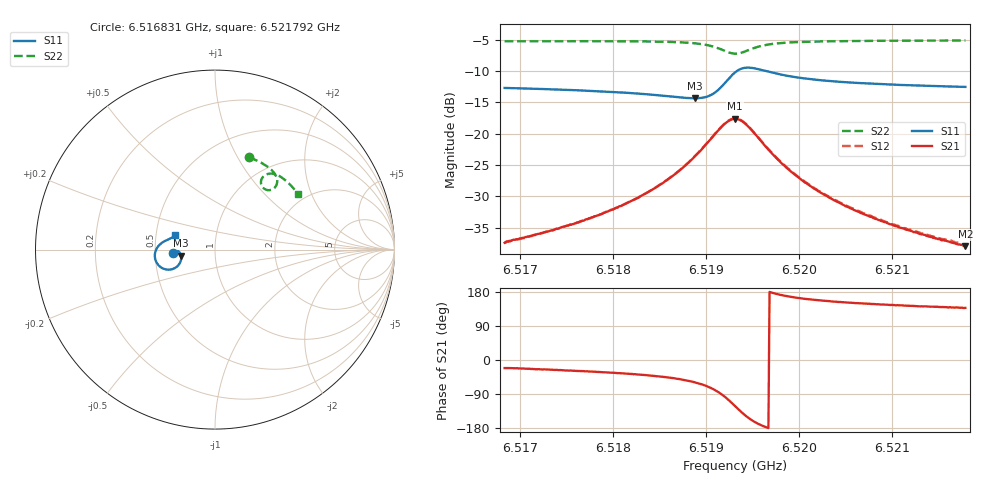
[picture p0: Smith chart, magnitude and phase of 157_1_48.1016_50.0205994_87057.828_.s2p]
#  HZ  S  RI  R  50.00
! Rohde & Schwarz Vector Network Analyzer
! Rohde-Schwarz,ZNB20-2Port,1311601062101988,3.16
! Created: UTC 12/23/2023, 3:50:22 AM
! freq[Hz]  re:S11  im:S11  re:S21  im:S21  re:S12  im:S12  re:S22  im:S22
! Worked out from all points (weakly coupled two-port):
!   401 points, 6.516831 GHz to 6.521792 GHz, reference 50 ohm
!   highest |S21| = -17.61 dB at 6.519311 GHz (marker M1); lowest = -37.9 dB at 6.521792 GHz (marker M2)
!   lowest |S11| = -14.3 dB at 6.518877 GHz (marker M3), VSWR 1.48, Z = 34 - j2.45 ohm
!   |S11| at or under -10 dB: start of sweep to 6.51933 GHz; 6.519648 GHz to end of sweep
!   |S22| runs from -7.2 to -5.1 dB; largest |S21 - S12| = 0.0041
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6.5168309e9  -0.2315 -0.0203  0.0126 -0.00489  0.0128 -0.00445  0.1913 0.5135
6.517327e9  -0.2262 -0.0128  0.0152 -0.00734  0.0154 -0.00686  0.2282 0.4987
6.5176619e9  -0.2215 -0.00875  0.0177 -0.00979  0.0178 -0.00929  0.2529 0.4867
6.5181084e9  -0.2132 -0.0061  0.0221 -0.0157  0.0226 -0.0151  0.2864 0.4665
6.5184929e9  -0.2027 -0.00996  0.0281 -0.0266  0.029 -0.0258  0.316 0.4428
6.5186913e9  -0.1954 -0.0179  0.032 -0.0377  0.0334 -0.0367  0.3314 0.4251
6.5188774e9  -0.1889 -0.0346  0.034 -0.0562  0.036 -0.0554  0.3436 0.4009
6.518989e9  -0.1886 -0.053  0.0312 -0.0742  0.0336 -0.0739  0.3466 0.3803
6.5190758e9  -0.1951 -0.0735  0.022 -0.0929  0.0249 -0.0929  0.3426 0.3605
6.5192123e9  -0.2355 -0.1081  -0.0193 -0.1205  -0.016 -0.122  0.312 0.3327
6.5192619e9  -0.2621 -0.1118  -0.0439 -0.1212  -0.0405 -0.1234  0.293 0.3315
6.5193115e9  -0.2905 -0.105  -0.0688 -0.1123  -0.0659 -0.1151  0.2745 0.3389
6.5193611e9  -0.3147 -0.0874  -0.0883 -0.0943  -0.0861 -0.0976  0.2612 0.354
6.5194231e9  -0.3318 -0.0573  -0.1001 -0.0665  -0.099 -0.0699  0.2559 0.3768
6.5195347e9  -0.3314 -0.00926  -0.0949 -0.0253  -0.0947 -0.0283  0.27 0.4081
6.5196464e9  -0.3159 0.0194  -0.0784 -0.00358  -0.079 -0.00584  0.2922 0.421
6.519882e9  -0.2865 0.0438  -0.0512 0.0109  -0.0521 0.00958  0.3305 0.4211
6.5201425e9  -0.2668 0.0534  -0.035 0.0133  -0.0358 0.0125  0.3594 0.4093
6.520527e9  -0.2501 0.0606  -0.0229 0.0124  -0.0235 0.0119  0.3903 0.388
6.5209735e9  -0.2382 0.0674  -0.0157 0.0107  -0.0163 0.0105  0.4187 0.3618
6.5213456e9  -0.2307 0.0725  -0.0122 0.00972  -0.0127 0.00952  0.4389 0.3393
6.5217921e9  -0.2233 0.0788  -0.00936 0.00854  -0.00983 0.0086  0.4607 0.3116
